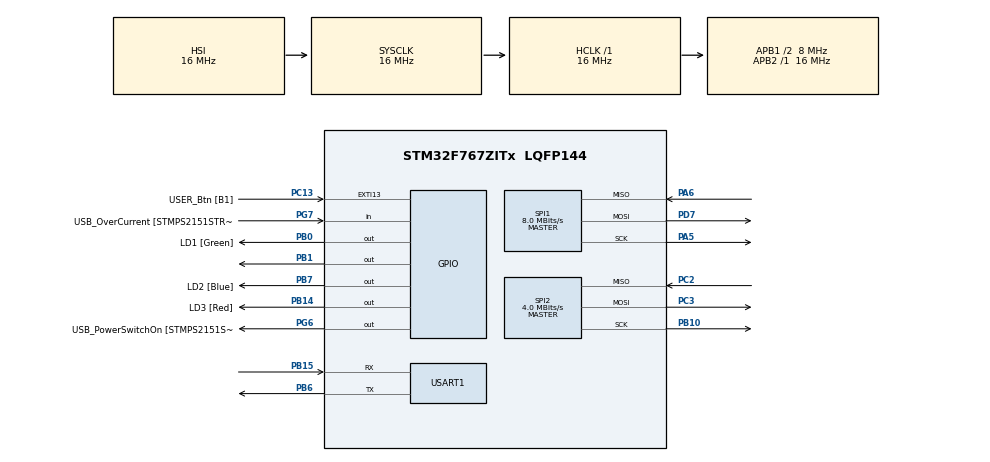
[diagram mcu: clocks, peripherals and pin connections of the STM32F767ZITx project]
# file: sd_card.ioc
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FATFS._MAX_SS=4096
FATFS._USE_LFN=1
Mcu.Family=STM32F7
Mcu.Name=STM32F767ZITx
Mcu.Package=LQFP144
NVIC.PriorityGroup=NVIC_PRIORITYGROUP_4
PA1.GPIO_Label=RMII_REF_CLK [LAN8742A-CZ-TR_REFCLK0]
PA1.Signal=ETH_REF_CLK
PA10.GPIO_Label=USB_ID
PA10.Signal=USB_OTG_FS_ID
PA11.GPIO_Label=USB_DM
PA11.Signal=USB_OTG_FS_DM
PA12.GPIO_Label=USB_DP
PA12.Signal=USB_OTG_FS_DP
PA13.GPIO_Label=TMS
PA13.Signal=SYS_JTMS-SWDIO
PA14.GPIO_Label=TCK
PA14.Signal=SYS_JTCK-SWCLK
PA2.GPIO_Label=RMII_MDIO [LAN8742A-CZ-TR_MDIO]
PA2.Signal=ETH_MDIO
PA5.Mode=Full_Duplex_Master
PA5.Signal=SPI1_SCK
PA6.Mode=Full_Duplex_Master
PA6.Signal=SPI1_MISO
PA7.GPIO_Label=RMII_CRS_DV [LAN8742A-CZ-TR_CRS_DV]
PA7.Signal=ETH_CRS_DV
PA8.GPIO_Label=USB_SOF [TP1]
PA8.Signal=USB_OTG_FS_SOF
PA9.GPIO_Label=USB_VBUS
PA9.Signal=USB_OTG_FS_VBUS
PB0.GPIO_Label=LD1 [Green]
PB0.Signal=GPIO_Output
PB1.Signal=GPIO_Output
PB10.Mode=Full_Duplex_Master
PB10.Signal=SPI2_SCK
PB13.GPIO_Label=RMII_TXD1 [LAN8742A-CZ-TR_TXD1]
PB13.Signal=ETH_TXD1
PB14.GPIO_Label=LD3 [Red]
PB14.Signal=GPIO_Output
PB15.Mode=Asynchronous
PB15.Signal=USART1_RX
PB3.GPIO_Label=SW0
PB3.Signal=SYS_JTDO-SWO
PB6.Mode=Asynchronous
PB6.Signal=USART1_TX
PB7.GPIO_Label=LD2 [Blue]
PB7.Signal=GPIO_Output
PC1.GPIO_Label=RMII_MDC [LAN8742A-CZ-TR_MDC]
PC1.Signal=ETH_MDC
PC13.GPIO_Label=USER_Btn [B1]
PC13.Signal=GPXTI13
PC14/OSC32_IN.Signal=RCC_OSC32_IN
PC15/OSC32_OUT.Signal=RCC_OSC32_OUT
PC2.Mode=Full_Duplex_Master
PC2.Signal=SPI2_MISO
PC3.Mode=Full_Duplex_Master
PC3.Signal=SPI2_MOSI
PC4.GPIO_Label=RMII_RXD0 [LAN8742A-CZ-TR_RXD0]
PC4.Signal=ETH_RXD0
PC5.GPIO_Label=RMII_RXD1 [LAN8742A-CZ-TR_RXD1]
PC5.Signal=ETH_RXD1
PD7.Mode=Full_Duplex_Master
PD7.Signal=SPI1_MOSI
PD8.GPIO_Label=STLK_RX [STM32F103CBT6_PA3]
PD8.Signal=USART3_TX
PD9.GPIO_Label=STLK_TX [STM32F103CBT6_PA2]
PD9.Signal=USART3_RX
PG11.GPIO_Label=RMII_TX_EN [LAN8742A-CZ-TR_TXEN]
PG11.Signal=ETH_TX_EN
PG13.GPIO_Label=RMII_TXD0 [LAN8742A-CZ-TR_TXD0]
PG13.Signal=ETH_TXD0
PG6.GPIO_Label=USB_PowerSwitchOn [STMPS2151STR_EN]
PG6.Signal=GPIO_Output
PG7.GPIO_Label=USB_OverCurrent [STMPS2151STR_FAULT]
PG7.Signal=GPIO_Input
PH0/OSC_IN.GPIO_Label=MCO [STM32F103CBT6_PA8]
PH0/OSC_IN.Signal=RCC_OSC_IN
PH1/OSC_OUT.Signal=RCC_OSC_OUT
ProjectManager.HeapSize=0x200
ProjectManager.StackSize=0x400
ProjectManager.TargetToolchain=STM32CubeIDE
RCC.48MHZClocksFreq_Value=24000000
RCC.AHBFreq_Value=16000000
RCC.APB1CLKDivider=RCC_HCLK_DIV2
RCC.APB1Freq_Value=8000000
RCC.APB1TimFreq_Value=16000000
RCC.APB2Freq_Value=16000000
RCC.APB2TimFreq_Value=16000000
RCC.CortexFreq_Value=16000000
RCC.HCLKFreq_Value=16000000
RCC.HSE_VALUE=16000000
RCC.HSI_VALUE=16000000
RCC.LSE_VALUE=32768
RCC.PLLMUL=RCC_PLL_MUL9
RCC.PRESCALERUSB=RCC_USBCLKSOURCE_PLL_DIV1_5
RCC.SYSCLKFreq_VALUE=16000000
RCC.SYSCLKSourceVirtual=RCC_SYSCLKSOURCE_PLLCLK
RCC.USBFreq_Value=96000000
RCC.VCOOutputFreq_Value=192000000
SPI1.CalculateBaudRate=8.0 MBits/s
SPI1.Direction=SPI_DIRECTION_2LINES
SPI1.Mode=SPI_MODE_MASTER
SPI1.VirtualType=VM_MASTER
SPI2.CalculateBaudRate=4.0 MBits/s
SPI2.DataSize=SPI_DATASIZE_8BIT
SPI2.Direction=SPI_DIRECTION_2LINES
SPI2.Mode=SPI_MODE_MASTER
SPI2.VirtualType=VM_MASTER
USART1.VirtualMode-Asynchronous=VM_ASYNC
VP_FATFS_VS_Generic.Mode=User_defined
board=NUCLEO-F767ZI

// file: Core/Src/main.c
/* USER CODE BEGIN Header */
/**
  ******************************************************************************
  * @file           : main.c
  * @brief          : Main program body
  ******************************************************************************
  * @attention
  *
  * Copyright (c) 2024 STMicroelectronics.
  * All rights reserved.
  *
  * This software is licensed under terms that can be found in the LICENSE file
  * in the root directory of this software component.
  * If no LICENSE file comes with this software, it is provided AS-IS.
  *
  ******************************************************************************
  */
/* USER CODE END Header */
#include "main.h"
#include "fatfs.h"

/* USER CODE BEGIN Includes */
#include <stdbool.h>
/* USER CODE END Includes */

SPI_HandleTypeDef hspi1;
SPI_HandleTypeDef hspi2;

UART_HandleTypeDef huart1;

void SystemClock_Config(void);
static void MX_GPIO_Init(void);
static void MX_SPI1_Init(void);
static void MX_SPI2_Init(void);
static void MX_USART1_UART_Init(void);
/* USER CODE BEGIN PFP */
void process_SD_card(void);
/* USER CODE END PFP */

int main(void)
{

  /* MCU Configuration--------------------------------------------------------*/

  /* Reset of all peripherals, Initializes the Flash interface and the Systick. */
  HAL_Init();

  /* Configure the system clock */
  SystemClock_Config();

  /* Initialize all configured peripherals */
  MX_GPIO_Init();
  MX_SPI1_Init();
  MX_FATFS_Init();
  MX_SPI2_Init();
  MX_USART1_UART_Init();
  /* USER CODE BEGIN 2 */

  process_SD_card();

  /* USER CODE END 2 */

  /* Infinite loop */
  while (1)
  {

  }
}

void SystemClock_Config(void)
{
  RCC_OscInitTypeDef RCC_OscInitStruct = {0};
  RCC_ClkInitTypeDef RCC_ClkInitStruct = {0};

  /** Configure the main internal regulator output voltage
  */
  __HAL_RCC_PWR_CLK_ENABLE();
  __HAL_PWR_VOLTAGESCALING_CONFIG(PWR_REGULATOR_VOLTAGE_SCALE3);

  /** Initializes the RCC Oscillators according to the specified parameters
  * in the RCC_OscInitTypeDef structure.
  */
  RCC_OscInitStruct.OscillatorType = RCC_OSCILLATORTYPE_HSI;
  RCC_OscInitStruct.HSIState = RCC_HSI_ON;
  RCC_OscInitStruct.HSICalibrationValue = RCC_HSICALIBRATION_DEFAULT;
  RCC_OscInitStruct.PLL.PLLState = RCC_PLL_NONE;
  if (HAL_RCC_OscConfig(&RCC_OscInitStruct) != HAL_OK)
  {
    Error_Handler();
  }

  /** Initializes the CPU, AHB and APB buses clocks
  */
  RCC_ClkInitStruct.ClockType = RCC_CLOCKTYPE_HCLK|RCC_CLOCKTYPE_SYSCLK
                              |RCC_CLOCKTYPE_PCLK1|RCC_CLOCKTYPE_PCLK2;
  RCC_ClkInitStruct.SYSCLKSource = RCC_SYSCLKSOURCE_HSI;
  RCC_ClkInitStruct.AHBCLKDivider = RCC_SYSCLK_DIV1;
  RCC_ClkInitStruct.APB1CLKDivider = RCC_HCLK_DIV2;
  RCC_ClkInitStruct.APB2CLKDivider = RCC_HCLK_DIV1;

  if (HAL_RCC_ClockConfig(&RCC_ClkInitStruct, FLASH_LATENCY_0) != HAL_OK)
  {
    Error_Handler();
  }
}

static void MX_SPI1_Init(void)
{

  /* SPI1 parameter configuration*/
  hspi1.Instance = SPI1;
  hspi1.Init.Mode = SPI_MODE_MASTER;
  hspi1.Init.Direction = SPI_DIRECTION_2LINES;
  hspi1.Init.DataSize = SPI_DATASIZE_4BIT;
  hspi1.Init.CLKPolarity = SPI_POLARITY_LOW;
  hspi1.Init.CLKPhase = SPI_PHASE_1EDGE;
  hspi1.Init.NSS = SPI_NSS_SOFT;
  hspi1.Init.BaudRatePrescaler = SPI_BAUDRATEPRESCALER_2;
  hspi1.Init.FirstBit = SPI_FIRSTBIT_MSB;
  hspi1.Init.TIMode = SPI_TIMODE_DISABLE;
  hspi1.Init.CRCCalculation = SPI_CRCCALCULATION_DISABLE;
  hspi1.Init.CRCPolynomial = 7;
  hspi1.Init.CRCLength = SPI_CRC_LENGTH_DATASIZE;
  hspi1.Init.NSSPMode = SPI_NSS_PULSE_ENABLE;
  if (HAL_SPI_Init(&hspi1) != HAL_OK)
  {
    Error_Handler();
  }

}

static void MX_SPI2_Init(void)
{

  /* SPI2 parameter configuration*/
  hspi2.Instance = SPI2;
  hspi2.Init.Mode = SPI_MODE_MASTER;
  hspi2.Init.Direction = SPI_DIRECTION_2LINES;
  hspi2.Init.DataSize = SPI_DATASIZE_8BIT;
  hspi2.Init.CLKPolarity = SPI_POLARITY_LOW;
  hspi2.Init.CLKPhase = SPI_PHASE_1EDGE;
  hspi2.Init.NSS = SPI_NSS_SOFT;
  hspi2.Init.BaudRatePrescaler = SPI_BAUDRATEPRESCALER_2;
  hspi2.Init.FirstBit = SPI_FIRSTBIT_MSB;
  hspi2.Init.TIMode = SPI_TIMODE_DISABLE;
  hspi2.Init.CRCCalculation = SPI_CRCCALCULATION_DISABLE;
  hspi2.Init.CRCPolynomial = 7;
  hspi2.Init.CRCLength = SPI_CRC_LENGTH_DATASIZE;
  hspi2.Init.NSSPMode = SPI_NSS_PULSE_ENABLE;
  if (HAL_SPI_Init(&hspi2) != HAL_OK)
  {
    Error_Handler();
  }

}

static void MX_USART1_UART_Init(void)
{

  huart1.Instance = USART1;
  huart1.Init.BaudRate = 115200;
  huart1.Init.WordLength = UART_WORDLENGTH_8B;
  huart1.Init.StopBits = UART_STOPBITS_1;
  huart1.Init.Parity = UART_PARITY_NONE;
  huart1.Init.Mode = UART_MODE_TX_RX;
  huart1.Init.HwFlowCtl = UART_HWCONTROL_NONE;
  huart1.Init.OverSampling = UART_OVERSAMPLING_16;
  huart1.Init.OneBitSampling = UART_ONE_BIT_SAMPLE_DISABLE;
  huart1.AdvancedInit.AdvFeatureInit = UART_ADVFEATURE_NO_INIT;
  if (HAL_UART_Init(&huart1) != HAL_OK)
  {
    Error_Handler();
  }

}

static void MX_GPIO_Init(void)
{
  GPIO_InitTypeDef GPIO_InitStruct = {0};

  /* GPIO Ports Clock Enable */
  __HAL_RCC_GPIOC_CLK_ENABLE();
  __HAL_RCC_GPIOH_CLK_ENABLE();
  __HAL_RCC_GPIOA_CLK_ENABLE();
  __HAL_RCC_GPIOB_CLK_ENABLE();
  __HAL_RCC_GPIOD_CLK_ENABLE();
  __HAL_RCC_GPIOG_CLK_ENABLE();

  /*Configure GPIO pin Output Level */
  HAL_GPIO_WritePin(GPIOB, LD1_Pin|GPIO_PIN_1|LD3_Pin|LD2_Pin, GPIO_PIN_RESET);

  /*Configure GPIO pin Output Level */
  HAL_GPIO_WritePin(USB_PowerSwitchOn_GPIO_Port, USB_PowerSwitchOn_Pin, GPIO_PIN_RESET);

  /*Configure GPIO pin : USER_Btn_Pin */
  GPIO_InitStruct.Pin = USER_Btn_Pin;
  GPIO_InitStruct.Mode = GPIO_MODE_IT_RISING;
  GPIO_InitStruct.Pull = GPIO_NOPULL;
  HAL_GPIO_Init(USER_Btn_GPIO_Port, &GPIO_InitStruct);

  /*Configure GPIO pins : RMII_MDC_Pin RMII_RXD0_Pin RMII_RXD1_Pin */
  GPIO_InitStruct.Pin = RMII_MDC_Pin|RMII_RXD0_Pin|RMII_RXD1_Pin;
  GPIO_InitStruct.Mode = GPIO_MODE_AF_PP;
  GPIO_InitStruct.Pull = GPIO_NOPULL;
  GPIO_InitStruct.Speed = GPIO_SPEED_FREQ_VERY_HIGH;
  GPIO_InitStruct.Alternate = GPIO_AF11_ETH;
  HAL_GPIO_Init(GPIOC, &GPIO_InitStruct);

  /*Configure GPIO pins : RMII_REF_CLK_Pin RMII_MDIO_Pin RMII_CRS_DV_Pin */
  GPIO_InitStruct.Pin = RMII_REF_CLK_Pin|RMII_MDIO_Pin|RMII_CRS_DV_Pin;
  GPIO_InitStruct.Mode = GPIO_MODE_AF_PP;
  GPIO_InitStruct.Pull = GPIO_NOPULL;
  GPIO_InitStruct.Speed = GPIO_SPEED_FREQ_VERY_HIGH;
  GPIO_InitStruct.Alternate = GPIO_AF11_ETH;
  HAL_GPIO_Init(GPIOA, &GPIO_InitStruct);

  /*Configure GPIO pins : LD1_Pin PB1 LD3_Pin LD2_Pin */
  GPIO_InitStruct.Pin = LD1_Pin|GPIO_PIN_1|LD3_Pin|LD2_Pin;
  GPIO_InitStruct.Mode = GPIO_MODE_OUTPUT_PP;
  GPIO_InitStruct.Pull = GPIO_NOPULL;
  GPIO_InitStruct.Speed = GPIO_SPEED_FREQ_LOW;
  HAL_GPIO_Init(GPIOB, &GPIO_InitStruct);

  /*Configure GPIO pin : RMII_TXD1_Pin */
  GPIO_InitStruct.Pin = RMII_TXD1_Pin;
  GPIO_InitStruct.Mode = GPIO_MODE_AF_PP;
  GPIO_InitStruct.Pull = GPIO_NOPULL;
  GPIO_InitStruct.Speed = GPIO_SPEED_FREQ_VERY_HIGH;
  GPIO_InitStruct.Alternate = GPIO_AF11_ETH;
  HAL_GPIO_Init(RMII_TXD1_GPIO_Port, &GPIO_InitStruct);

  /*Configure GPIO pins : STLK_RX_Pin STLK_TX_Pin */
  GPIO_InitStruct.Pin = STLK_RX_Pin|STLK_TX_Pin;
  GPIO_InitStruct.Mode = GPIO_MODE_AF_PP;
  GPIO_InitStruct.Pull = GPIO_NOPULL;
  GPIO_InitStruct.Speed = GPIO_SPEED_FREQ_VERY_HIGH;
  GPIO_InitStruct.Alternate = GPIO_AF7_USART3;
  HAL_GPIO_Init(GPIOD, &GPIO_InitStruct);

  /*Configure GPIO pin : USB_PowerSwitchOn_Pin */
  GPIO_InitStruct.Pin = USB_PowerSwitchOn_Pin;
  GPIO_InitStruct.Mode = GPIO_MODE_OUTPUT_PP;
  GPIO_InitStruct.Pull = GPIO_NOPULL;
  GPIO_InitStruct.Speed = GPIO_SPEED_FREQ_LOW;
  HAL_GPIO_Init(USB_PowerSwitchOn_GPIO_Port, &GPIO_InitStruct);

  /*Configure GPIO pin : USB_OverCurrent_Pin */
  GPIO_InitStruct.Pin = USB_OverCurrent_Pin;
  GPIO_InitStruct.Mode = GPIO_MODE_INPUT;
  GPIO_InitStruct.Pull = GPIO_NOPULL;
  HAL_GPIO_Init(USB_OverCurrent_GPIO_Port, &GPIO_InitStruct);

  /*Configure GPIO pins : USB_SOF_Pin USB_ID_Pin USB_DM_Pin USB_DP_Pin */
  GPIO_InitStruct.Pin = USB_SOF_Pin|USB_ID_Pin|USB_DM_Pin|USB_DP_Pin;
  GPIO_InitStruct.Mode = GPIO_MODE_AF_PP;
  GPIO_InitStruct.Pull = GPIO_NOPULL;
  GPIO_InitStruct.Speed = GPIO_SPEED_FREQ_VERY_HIGH;
  GPIO_InitStruct.Alternate = GPIO_AF10_OTG_FS;
  HAL_GPIO_Init(GPIOA, &GPIO_InitStruct);

  /*Configure GPIO pin : USB_VBUS_Pin */
  GPIO_InitStruct.Pin = USB_VBUS_Pin;
  GPIO_InitStruct.Mode = GPIO_MODE_INPUT;
  GPIO_InitStruct.Pull = GPIO_NOPULL;
  HAL_GPIO_Init(USB_VBUS_GPIO_Port, &GPIO_InitStruct);

  /*Configure GPIO pins : RMII_TX_EN_Pin RMII_TXD0_Pin */
  GPIO_InitStruct.Pin = RMII_TX_EN_Pin|RMII_TXD0_Pin;
  GPIO_InitStruct.Mode = GPIO_MODE_AF_PP;
  GPIO_InitStruct.Pull = GPIO_NOPULL;
  GPIO_InitStruct.Speed = GPIO_SPEED_FREQ_VERY_HIGH;
  GPIO_InitStruct.Alternate = GPIO_AF11_ETH;
  HAL_GPIO_Init(GPIOG, &GPIO_InitStruct);

}

/* USER CODE BEGIN 4 */
#ifdef __GNUC__
  /* With GCC, small printf (option LD Linker->Libraries->Small printf
     set to 'Yes') calls __io_putchar() */
int __io_putchar(int ch)
#else
int fputc(int ch, FILE *f)
#endif /* __GNUC__ */
{
  /* Place your implementation of fputc here */
  /* e.g. write a character to the UART3 and Loop until the end of transmission */
  HAL_UART_Transmit(&huart1, (uint8_t *)&ch, 1, HAL_MAX_DELAY);

  return ch;
}

void process_SD_card( void )
{
  FATFS       FatFs;                //Fatfs handle
  FIL         fil;                  //File handle
  FRESULT     fres;                 //Result after operations
  char        buf[100];
  do
  {
    //Mount the SD Card
    fres = f_mount(&FatFs, "", 1);    //1=mount now
    if (fres != FR_OK)
    {
      printf("No SD Card found : (%i)\r\n", fres);
      break;
    }
    printf("SD Card Mounted Successfully!!!\r\n");
    //Read the SD Card Total size and Free Size
    FATFS *pfs;
    DWORD fre_clust;
    uint32_t totalSpace, freeSpace;
    f_getfree("", &fre_clust, &pfs);
    totalSpace = (uint32_t)((pfs->n_fatent - 2) * pfs->csize * 0.5);
    freeSpace = (uint32_t)(fre_clust * pfs->csize * 0.5);
    printf("TotalSpace : %lu bytes, FreeSpace = %lu bytes\n", totalSpace, freeSpace);
    //Open the file
    fres = f_open(&fil, "EmbeTronicX.txt", FA_WRITE | FA_READ | FA_CREATE_ALWAYS);
    if(fres != FR_OK)
    {
      printf("File creation/open Error : (%i)\r\n", fres);
      break;
    }
    printf("Writing data!!!\r\n");
    //write the data
    f_puts("Welcome to EmbeTronicX", &fil);
    //close your file
    f_close(&fil);
    //Open the file
    fres = f_open(&fil, "EmbeTronicX.txt", FA_READ);
    if(fres != FR_OK)
    {
      printf("File opening Error : (%i)\r\n", fres);
      break;
    }
    //read the data
    f_gets(buf, sizeof(buf), &fil);
    printf("Read Data : %s\n", buf);
    //close your file
    f_close(&fil);
    printf("Closing File!!!\r\n");
#if 0
    //Delete the file.
    fres = f_unlink(EmbeTronicX.txt);
    if (fres != FR_OK)
    {
      printf("Cannot able to delete the file\n");
    }
#endif
  } while( false );
  //We're done, so de-mount the drive
  f_mount(NULL, "", 0);
  printf("SD Card Unmounted Successfully!!!\r\n");
}
/* USER CODE END 4 */

void Error_Handler(void)
{
  __disable_irq();
  while (1)
  {
  }
}
